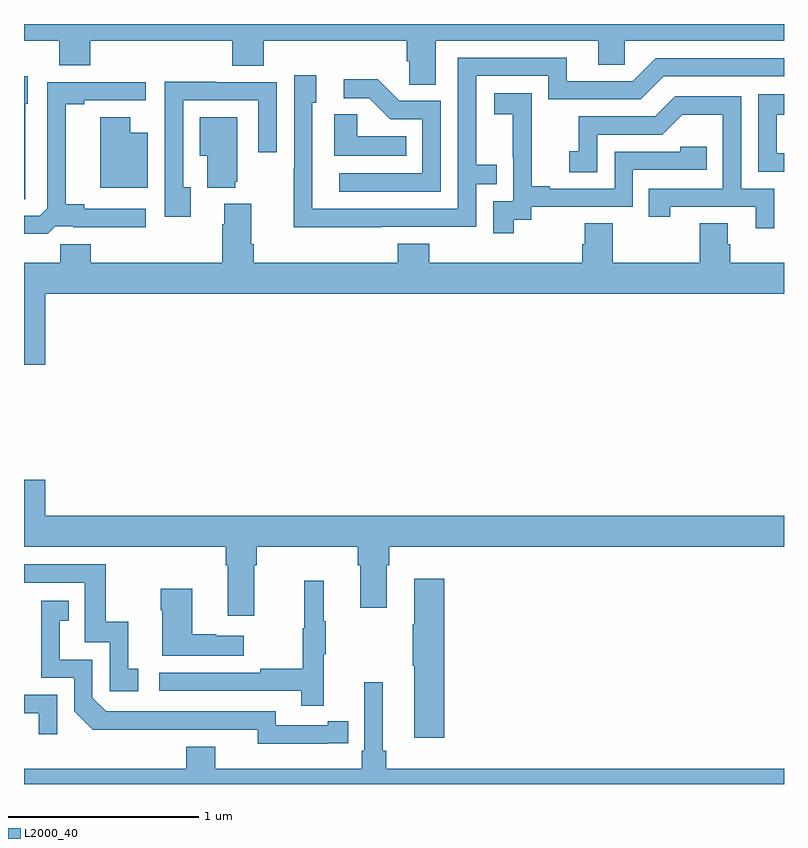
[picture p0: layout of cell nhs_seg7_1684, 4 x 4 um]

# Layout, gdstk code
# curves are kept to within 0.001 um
import gdstk
lib = gdstk.Library(unit=1e-6, precision=1e-09)
def P(c, l, *ps):  # polygons
    for p in ps: c.add(gdstk.Polygon(p, *l))
L2000_40 = (2000, 40)

nhs_seg7_1684 = lib.new_cell('nhs_seg7_1684')
P(nhs_seg7_1684, L2000_40, [(227.167,1037.912),(228.023,1037.912),(228.023,1037.785),(228.162,1037.785),(228.162,1037.912),(229,1037.912),(229,1038),(225,1038),(225,1037.912),(225.185,1037.912),(225.185,1037.784),(225.349,1037.784),(225.349,1037.912),(226.097,1037.912),(226.097,1037.779),(226.262,1037.779),(226.262,1037.912),(227.015,1037.912),(227.015,1037.803),(227.028,1037.803),(227.028,1037.68),(227.167,1037.68)],
  [(226.883,1036.932),(227.379,1036.932),(227.379,1037.157),(227.489,1037.157),(227.489,1037.258),(227.379,1037.258),(227.379,1037.727),(227.76,1037.727),(227.76,1037.604),(228.246,1037.604),(228.366,1037.724),(229,1037.724),(229,1037.82),(228.324,1037.82),(228.204,1037.7),(227.857,1037.7),(227.857,1037.823),(227.283,1037.823),(227.283,1037.028),(226.518,1037.028),(226.518,1037.586),(226.537,1037.586),(226.537,1037.731),(226.422,1037.731),(226.422,1037.237),(226.42,1037.237),(226.42,1036.93),(226.883,1036.93)],
  [(225.006,1037.58),(225.019,1037.58),(225.019,1037.725),(225,1037.725),(225,1037.077),(225.006,1037.077)],
  [(227.193,1037.595),(226.974,1037.595),(226.861,1037.708),(226.683,1037.708),(226.683,1037.61),(226.817,1037.61),(226.928,1037.499),(227.097,1037.499),(227.097,1037.214),(226.659,1037.214),(226.659,1037.118),(227.193,1037.118)],
  [(225.877,1037.142),(225.837,1037.142),(225.837,1037.598),(226.233,1037.598),(226.233,1037.325),(226.329,1037.325),(226.329,1037.694),(226.013,1037.694),(226.013,1037.696),(225.741,1037.696),(225.741,1036.986),(225.877,1036.986)],
  [(225.165,1036.935),(225.259,1036.935),(225.259,1036.93),(225.64,1036.93),(225.64,1037.028),(225.316,1037.028),(225.316,1037.051),(225.221,1037.051),(225.221,1037.578),(225.316,1037.578),(225.316,1037.598),(225.64,1037.598),(225.64,1037.694),(225.123,1037.694),(225.123,1037.031),(225.084,1036.992),(225,1036.992),(225,1036.896),(225.125,1036.896)],
  [(227.578,1036.969),(227.67,1036.969),(227.67,1037.037),(228.204,1037.037),(228.204,1037.232),(228.593,1037.232),(228.593,1037.355),(228.453,1037.355),(228.453,1037.328),(228.108,1037.328),(228.108,1037.133),(227.767,1037.133),(227.767,1037.146),(227.672,1037.146),(227.672,1037.429),(227.673,1037.429),(227.673,1037.635),(227.475,1037.635),(227.475,1037.525),(227.573,1037.525),(227.573,1037.297),(227.574,1037.297),(227.574,1037.067),(227.469,1037.067),(227.469,1036.899),(227.578,1036.899)],
  [(229,1037.319),(228.961,1037.319),(228.961,1037.523),(229,1037.523),(229,1037.629),(228.864,1037.629),(228.864,1037.223),(229,1037.223)],
  [(228.948,1037.133),(228.774,1037.133),(228.774,1037.619),(228.428,1037.619),(228.323,1037.514),(227.92,1037.514),(227.92,1037.329),(227.871,1037.329),(227.871,1037.22),(228.018,1037.22),(228.018,1037.418),(228.36,1037.418),(228.464,1037.522),(228.678,1037.522),(228.678,1037.133),(228.289,1037.133),(228.289,1036.986),(228.4,1036.986),(228.4,1037.037),(228.851,1037.037),(228.851,1036.926),(228.948,1036.926)],
  [(227.012,1037.41),(226.755,1037.41),(226.755,1037.525),(226.634,1037.525),(226.634,1037.306),(227.012,1037.306)],
  [(226.112,1037.169),(226.123,1037.169),(226.123,1037.509),(225.926,1037.509),(225.926,1037.306),(225.965,1037.306),(225.965,1037.138),(226.112,1037.138)],
  [(225.652,1037.428),(225.559,1037.428),(225.559,1037.509),(225.401,1037.509),(225.401,1037.138),(225.652,1037.138)],
  [(229,1036.744),(228.716,1036.744),(228.716,1036.842),(228.703,1036.842),(228.703,1036.952),(228.556,1036.952),(228.556,1036.744),(228.099,1036.744),(228.099,1036.952),(227.951,1036.952),(227.951,1036.842),(227.939,1036.842),(227.939,1036.744),(227.132,1036.744),(227.132,1036.843),(226.967,1036.843),(226.967,1036.744),(226.208,1036.744),(226.208,1036.84),(226.195,1036.84),(226.195,1037.053),(226.055,1037.053),(226.055,1036.946),(226.043,1036.946),(226.043,1036.744),(225.35,1036.744),(225.35,1036.842),(225.19,1036.842),(225.19,1036.744),(225,1036.744),(225,1036.206),(225.112,1036.206),(225.112,1036.58),(229,1036.58)],
  [(226.213,1035.152),(226.226,1035.152),(226.226,1035.248),(226.757,1035.248),(226.757,1035.152),(226.769,1035.152),(226.769,1034.928),(226.909,1034.928),(226.909,1035.152),(226.922,1035.152),(226.922,1035.248),(229,1035.248),(229,1035.412),(225.112,1035.412),(225.112,1035.601),(225,1035.601),(225,1035.248),(226.061,1035.248),(226.061,1035.152),(226.073,1035.152),(226.073,1034.886),(226.213,1034.886)],
  [(225.601,1034.607),(225.548,1034.607),(225.548,1034.853),(225.43,1034.853),(225.43,1035.156),(225,1035.156),(225,1035.06),(225.321,1035.06),(225.321,1034.745),(225.45,1034.745),(225.45,1034.487),(225.601,1034.487)],
  [(227.213,1035.079),(227.054,1035.079),(227.054,1034.84),(227.047,1034.84),(227.047,1034.623),(227.054,1034.623),(227.054,1034.244),(227.213,1034.244)],
  [(226.577,1034.683),(226.588,1034.683),(226.588,1034.857),(226.577,1034.857),(226.577,1035.07),(226.474,1035.07),(226.474,1034.82),(226.467,1034.82),(226.467,1034.606),(226.243,1034.606),(226.243,1034.586),(225.711,1034.586),(225.711,1034.49),(226.459,1034.49),(226.459,1034.412),(226.577,1034.412)],
  [(226.156,1034.779),(226.013,1034.779),(226.013,1034.789),(225.886,1034.789),(225.886,1035.028),(225.721,1035.028),(225.721,1034.915),(225.728,1034.915),(225.728,1034.675),(226.156,1034.675)],
  [(226.598,1034.214),(226.706,1034.214),(226.706,1034.33),(226.598,1034.33),(226.598,1034.31),(226.326,1034.31),(226.326,1034.382),(225.432,1034.382),(225.36,1034.454),(225.36,1034.655),(225.187,1034.655),(225.187,1034.859),(225.236,1034.859),(225.236,1034.965),(225.09,1034.965),(225.09,1034.559),(225.264,1034.559),(225.264,1034.382),(225.362,1034.285),(226.23,1034.286),(226.23,1034.213)],
  [(229,1034.08),(226.907,1034.08),(226.907,1034.176),(226.888,1034.176),(226.888,1034.536),(226.791,1034.536),(226.791,1034.176),(226.778,1034.176),(226.778,1034.08),(226.006,1034.08),(226.006,1034.197),(225.854,1034.197),(225.854,1034.08),(225,1034.08),(225,1034),(229,1034)],
  [(225.174,1034.469),(225,1034.469),(225,1034.373),(225.077,1034.373),(225.077,1034.262),(225.174,1034.262)])

lib.write_gds('nhs_seg7_1684.gds')
